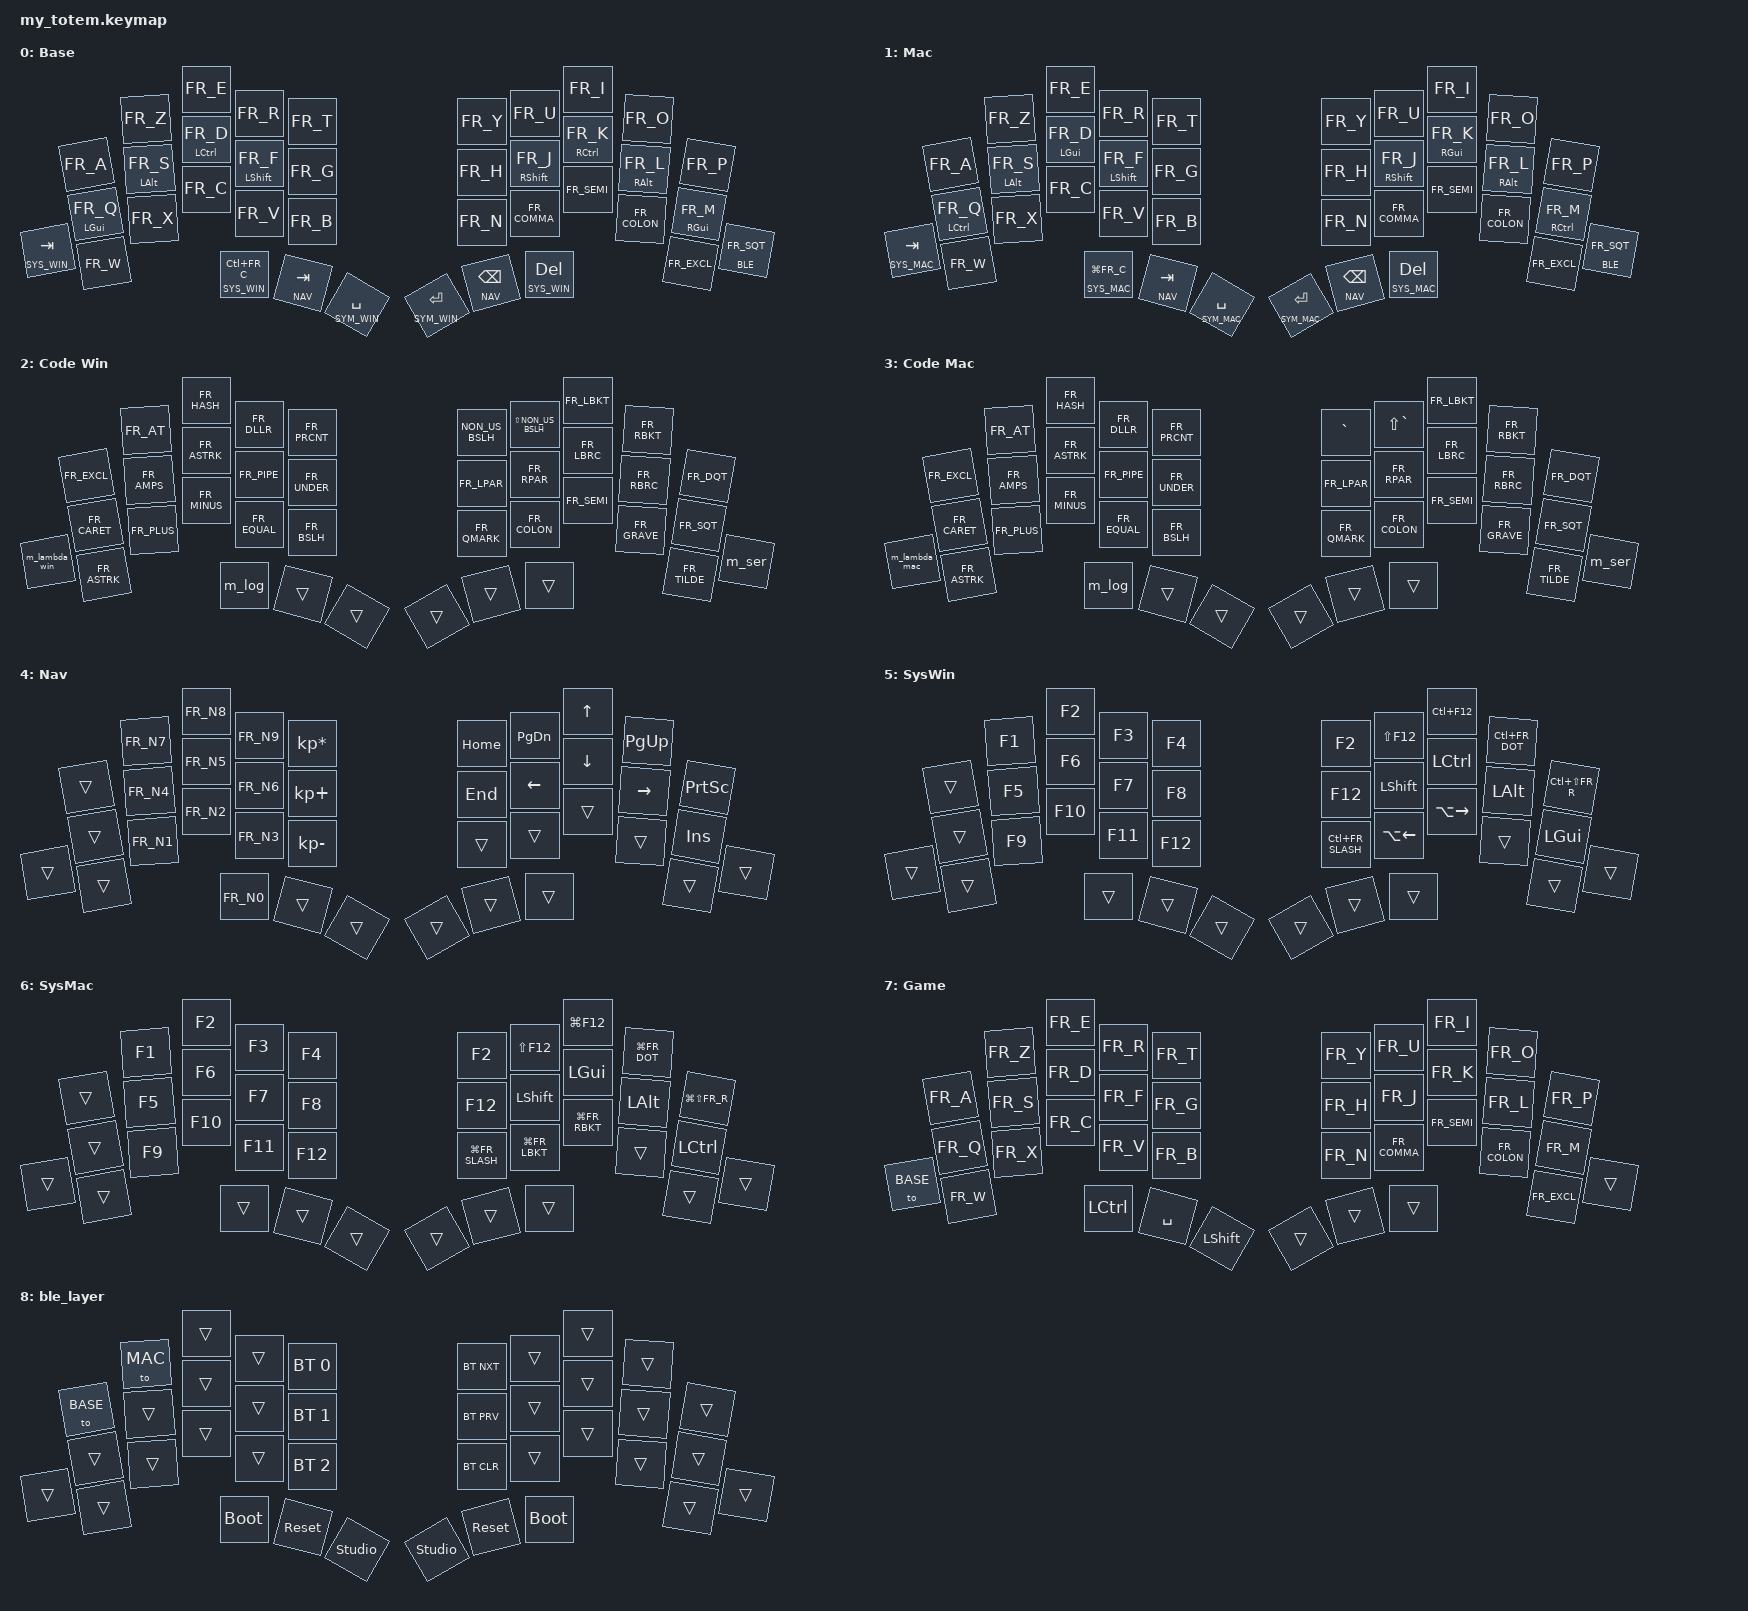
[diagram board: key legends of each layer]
/*
 * TOTEM ZMK CONFIGURATION - C# / UNITY / VS CODE EDITION
 *
 * COMBOS (Press simultaneously):
 * -------------------------------------------------------
 * A + Z         = ESCAPE
 * J + K         = ENTER
 * H + J         = BACKSPACE
 * W + !         = CAPS WORD (Smart capitalization for constants)
 * , + ;         = <  (For XML/Generics)
 * ; + :         = >  (For XML/Generics)
 * : + !         = Comment line (Ctrl + /)
 */

#include <behaviors.dtsi>
#include <dt-bindings/zmk/bt.h>
#include <dt-bindings/zmk/keys.h>

#ifndef KEYMAP_DRAWER
// Include the French locale definitions only for firmware build
#include "keys_fr.h"
#endif

// --- LAYER DEFINITIONS ---

#define BASE 0
#define MAC  1
#define SYM_WIN 2
#define SYM_MAC 3
#define NAV  4
#define SYS_WIN 5
#define SYS_MAC 6
#define GAME 7
#define BLE  8

// --- BEHAVIORS CONFIGURATION ---
// Mod-Tap: Short press = Key, Long press = Modifier

&mt {
    quick-tap-ms = <100>;
    global-quick-tap;
    flavor = "tap-preferred";
    tapping-term-ms = <170>;
};

// Caps Word: Automatically stops after a space or unauthorized symbol

&caps_word { continue-list = <UNDERSCORE MINUS BACKSPACE DELETE>; };

/ {
    behaviors {
        // HOME ROW MODS:
        // Holding the key activates the modifier (Shift, Ctrl, Alt, Gui)
        // F = Shift, D = Ctrl, S = Alt, Q = Win

        hm: homerow_mods {
            compatible = "zmk,behavior-hold-tap";
            label = "HOMEROW_MODS";
            #binding-cells = <2>;
            tapping-term-ms = <200>;
            quick_tap_ms = <0>;
            flavor = "tap-preferred";
            bindings = <&kp>, <&kp>;
            require-prior-idle-ms = <125>;
        };
    };

    macros {
        // C# Lambda (=>) - Windows
        m_lambda_win: m_lambda_win {
            compatible = "zmk,behavior-macro";
            #binding-cells = <0>;
            bindings = <&kp FR_EQUAL &kp FR_GT>;
        };
        // C# Lambda (=>) - Mac workaround for inverted characters
        m_lambda_mac: m_lambda_mac {
            compatible = "zmk,behavior-macro";
            #binding-cells = <0>;
            bindings = <&kp FR_EQUAL &kp LS(NON_US_BSLH)>; 
        };
        
        // Unity Serialized Field ([SerializeField] private ) - Unified
        m_ser: m_ser {
            compatible = "zmk,behavior-macro";
            #binding-cells = <0>;
            bindings = <&kp FR_LBKT &kp LS(FR_S) &kp FR_E &kp FR_R &kp FR_I &kp FR_A &kp FR_L &kp FR_I &kp FR_Z &kp FR_E &kp LS(FR_F) &kp FR_I &kp FR_E &kp FR_L &kp FR_D &kp FR_RBKT &kp SPACE &kp FR_P &kp FR_R &kp FR_I &kp FR_V &kp FR_A &kp FR_T &kp FR_E &kp SPACE>;
        };

        // Unity Debug Log (Debug.Log("");) + Cursor placement
        m_log: m_log {
            compatible = "zmk,behavior-macro";
            #binding-cells = <0>;
            bindings = <&kp LS(FR_D) &kp FR_E &kp FR_B &kp FR_U &kp FR_G &kp FR_DOT &kp LS(FR_L) &kp FR_O &kp FR_G &kp FR_LPAR &kp FR_DQT &kp FR_DQT &kp FR_RPAR &kp FR_SEMI &kp LEFT &kp LEFT &kp LEFT>;
        };
    };

    combos {
        compatible = "zmk,combos";

        // --- UTILITIES ---

        combo_esc {
            timeout-ms = <50>;
            key-positions = <0 1>;      // A + Z
            bindings = <&kp ESC>;
        };

        combo_enter {
            timeout-ms = <50>;
            key-positions = <16 17>;    // J + K
            bindings = <&kp RET>;
        };

        combo_bspc {
            timeout-ms = <50>;
            key-positions = <15 16>;   // H + J
            bindings = <&kp BSPC>;
        };

        combo_capsword {
            timeout-ms = <50>;
            key-positions = <20 29>;    // W + ! 
            bindings = <&caps_word>;
        };

        // --- C# GENERICS & XML (< >) FOR WINDOWS ---

        combo_lt_win {
            timeout-ms = <40>;
            key-positions = <27 28>;    // , + ;
            bindings = <&kp NON_US_BSLH>;
            layers = <BASE SYS_WIN>;
        };

        combo_gt_win {
            timeout-ms = <40>;
            key-positions = <28 29>;    // ; + :
            bindings = <&kp LS(NON_US_BSLH)>;
            layers = <BASE SYS_WIN>;
        };

        // --- C# GENERICS & XML (< >) FOR MAC ---

        combo_lt_mac {
            timeout-ms = <40>;
            key-positions = <27 28>;    // , + ;
            bindings = <&kp GRAVE>;     // Changed from NON_US_BSLH to bypass macOS ISO bug
            layers = <MAC SYS_MAC>;
        };

        combo_gt_mac {
            timeout-ms = <40>;
            key-positions = <28 29>;    // ; + :
            bindings = <&kp LS(GRAVE)>; // Changed from LS(NON_US_BSLH)
            layers = <MAC SYS_MAC>;
        };

        // --- VS CODE ---

        combo_comment {
            timeout-ms = <50>;
            key-positions = <29 30>;   // : + !
            bindings = <&kp LC(FR_SLASH)>;
            layers = <BASE SYS_WIN>;
        };

        combo_comment_mac {
            timeout-ms = <50>;
            key-positions = <29 30>;   // : + !
            bindings = <&kp LG(FR_SLASH)>;
            layers = <MAC SYS_MAC>;
        };
    };

    keymap {
        compatible = "zmk,keymap";

/* ------------------------------------------------------------------------------------------------
 * LAYER 0: BASE (AZERTY FR)
 *
 * A     Z     E     R     T     |     Y     U     I     O     P
 * Q     S     D     F     G     |     H     J     K     L     M
 * W     X     C     V     B     |     N     ,     ;     :     !
 *
 * CPY   PST   SPC(Nav)          |     RET(Sym)  BSP(Nav)  DEL
 *
 * Notes: 
 * - Home Row Mods on Q,S,D,F and J,K,L,M
 * - Holding Tab on the left = SYS Layer
 * ------------------------------------------------------------------------------------------------ */

        base_layer {
            display-name = "Base";
            bindings = <
&kp FR_A        &kp FR_Z        &kp FR_E        &kp FR_R        &kp FR_T                                           &kp FR_Y       &kp FR_U        &kp FR_I        &kp FR_O        &kp FR_P
&hm LGUI FR_Q   &hm LALT FR_S   &hm LCTRL FR_D  &hm LSHFT FR_F  &kp FR_G                                           &kp FR_H       &hm RSHFT FR_J  &hm RCTRL FR_K  &hm RALT FR_L   &hm RGUI FR_M
&lt SYS_WIN TAB &kp FR_W        &kp FR_X        &kp FR_C        &kp FR_V       &kp FR_B               &kp FR_N     &kp FR_COMMA   &kp FR_SEMI     &kp FR_COLON    &kp FR_EXCL     &lt BLE FR_SQT
                                                &lt SYS_WIN LC(FR_C) &lt NAV TAB &lt SYM_WIN SPACE        &lt SYM_WIN RET  &lt NAV BSPC   &lt SYS_WIN DEL
            >;
        };

        mac_layer {
            display-name = "Mac";
            bindings = <
&kp FR_A        &kp FR_Z        &kp FR_E        &kp FR_R        &kp FR_T                                           &kp FR_Y       &kp FR_U        &kp FR_I        &kp FR_O        &kp FR_P
&hm LCTRL FR_Q  &hm LALT FR_S   &hm LGUI FR_D   &hm LSHFT FR_F  &kp FR_G                                           &kp FR_H       &hm RSHFT FR_J  &hm RGUI FR_K   &hm RALT FR_L   &hm RCTRL FR_M
&lt SYS_MAC TAB &kp FR_W        &kp FR_X        &kp FR_C        &kp FR_V       &kp FR_B               &kp FR_N     &kp FR_COMMA   &kp FR_SEMI     &kp FR_COLON    &kp FR_EXCL     &lt BLE FR_SQT
                                                &lt SYS_MAC LG(FR_C) &lt NAV TAB &lt SYM_MAC SPACE        &lt SYM_MAC RET  &lt NAV BSPC   &lt SYS_MAC DEL
            >;
        };

/* ------------------------------------------------------------------------------------------------
 * LAYER 2: C# SYMBOLS & CODE
 *
 * !     @     #     $     %     |     <     >     [     ]     "
 * ^     &     * |     _     |     (     )     {     }     '
 * =>    * +     -     =     |     ?     :     ;     `     ~
 * ...   ...   ...           |     ...   ...   ...
 *
 * Notes: 
 * - Optimized for C#: ( ) { } [ ] accessible without moving the right wrist.
 * - Mac users must use "Français - PC" layout in macOS settings.
 * ------------------------------------------------------------------------------------------------ */

        sym_win_layer {
            display-name = "Code Win";
            bindings = <
&kp FR_EXCL     &kp FR_AT       &kp FR_HASH     &kp FR_DLLR     &kp FR_PRCNT                           &kp NON_US_BSLH &kp LS(NON_US_BSLH) &kp FR_LBKT  &kp FR_RBKT  &kp FR_DQT
&kp FR_CARET    &kp FR_AMPS     &kp FR_ASTRK    &kp FR_PIPE     &kp FR_UNDER                           &kp FR_LPAR  &kp FR_RPAR  &kp FR_LBRC  &kp FR_RBRC  &kp FR_SQT
&m_lambda_win   &kp FR_ASTRK    &kp FR_PLUS     &kp FR_MINUS    &kp FR_EQUAL  &kp FR_BSLH  &kp FR_QMARK &kp FR_COLON &kp FR_SEMI  &kp FR_GRAVE &kp FR_TILDE &m_ser
                                                &m_log          &trans        &trans       &trans       &trans       &trans
            >;
        };

        sym_mac_layer {
            display-name = "Code Mac";
            bindings = <
&kp FR_EXCL     &kp FR_AT       &kp FR_HASH     &kp FR_DLLR     &kp FR_PRCNT                           &kp GRAVE    &kp LS(GRAVE)  &kp FR_LBKT  &kp FR_RBKT  &kp FR_DQT
&kp FR_CARET    &kp FR_AMPS     &kp FR_ASTRK    &kp FR_PIPE     &kp FR_UNDER                           &kp FR_LPAR  &kp FR_RPAR  &kp FR_LBRC  &kp FR_RBRC  &kp FR_SQT
&m_lambda_mac   &kp FR_ASTRK    &kp FR_PLUS     &kp FR_MINUS    &kp FR_EQUAL  &kp FR_BSLH  &kp FR_QMARK &kp FR_COLON &kp FR_SEMI  &kp FR_GRAVE &kp FR_TILDE &m_ser
                                                &m_log          &trans        &trans       &trans       &trans       &trans
            >;
        };

/* ------------------------------------------------------------------------------------------------
 * LAYER 3: NAVIGATION & DEBUG
 *
 * F1    F2    F3    F4    F5    |     Home  PgDn  PgUp  End   PrtSc
 * F6    F7    F8    F9    F10   |     Left  Down  Up    Right Ins
 * F11   F12               |     Game              ...
 * ...   ...   ...           |     ...   ...   ...
 * ------------------------------------------------------------------------------------------------ */

        num_layer {
            display-name = "Nav";
            bindings = <
&trans  &kp FR_N7 &kp FR_N8 &kp FR_N9 &kp KP_MULTIPLY                                   &kp HOME  &kp PG_DN  &kp UP     &kp PG_UP  &kp PSCRN
&trans  &kp FR_N4 &kp FR_N5 &kp FR_N6 &kp KP_PLUS                                       &kp END   &kp LEFT   &kp DOWN   &kp RIGHT  &kp INS
&trans  &trans    &kp FR_N1 &kp FR_N2 &kp FR_N3       &kp KP_MINUS            &trans    &trans    &trans     &trans     &trans     &trans
                                      &kp FR_N0       &trans        &trans    &trans    &trans    &trans
            >;
        };

/* ------------------------------------------------------------------------------------------------
 * LAYER 4 & 5: SYSTEM & BLUETOOTH
 *
 * RST           OutTog BTClr      |                 F7    F8    F9    F12
 * Boot  BtNxt          BtSel1     |     Slck        F4    F5    F6    F11
 * BtPrv         BtSel2      |     Pause       F1    F2    F3    F10
 * ...   ...   ...           |     ...   ...   ...
 * ------------------------------------------------------------------------------------------------ */

        sys_win_layer {
            display-name = "SysWin";
            bindings = <
&trans  &kp F1  &kp F2  &kp F3   &kp F4                            &kp F2        &kp LS(F12)         &kp LC(F12)         &kp LC(FR_DOT) &kp LC(LS(FR_R))
&trans  &kp F5  &kp F6  &kp F7   &kp F8                            &kp F12       &kp LEFT_SHIFT      &kp LCTRL           &kp LALT       &kp LGUI
&trans  &trans  &kp F9  &kp F10  &kp F11  &kp F12     &kp LC(FR_SLASH) &kp LA(LEFT_ARROW)  &kp LA(RIGHT_ARROW) &trans         &trans         &trans
                                 &trans   &trans      &trans       &trans        &trans              &trans
            >;
        };

        sys_mac_layer {
            display-name = "SysMac";
            bindings = <
&trans  &kp F1  &kp F2  &kp F3   &kp F4                            &kp F2        &kp LS(F12)         &kp LG(F12)         &kp LG(FR_DOT) &kp LG(LS(FR_R))
&trans  &kp F5  &kp F6  &kp F7   &kp F8                            &kp F12       &kp LEFT_SHIFT      &kp LGUI            &kp LALT       &kp LCTRL
&trans  &trans  &kp F9  &kp F10  &kp F11  &kp F12     &kp LG(FR_SLASH) &kp LG(FR_LBKT)     &kp LG(FR_RBKT)     &trans         &trans         &trans
                                 &trans   &trans      &trans       &trans        &trans              &trans
            >;
        };

/* ------------------------------------------------------------------------------------------------
 * LAYER 6: GAME (UNITY / FPS)
 *
 * A     Z     E     R     T     |     Y     U     I     O     P
 * Q     S     D     F     G     |     H     J     K     L     M
 * W     X     C     V     B     |     N     ,     ;     :     !
 * Ctrl  Space Shift         |     ...   ...   ...
 * ------------------------------------------------------------------------------------------------ */

        game_layer {
            display-name = "Game";
            bindings = <
&kp FR_A  &kp FR_Z  &kp FR_E  &kp FR_R       &kp FR_T                                     &kp FR_Y  &kp FR_U  &kp FR_I      &kp FR_O      &kp FR_P
&kp FR_Q  &kp FR_S  &kp FR_D  &kp FR_F       &kp FR_G                                     &kp FR_H  &kp FR_J  &kp FR_K      &kp FR_L      &kp FR_M
&to BASE  &kp FR_W  &kp FR_X  &kp FR_C       &kp FR_V       &kp FR_B             &kp FR_N &kp FR_COMMA &kp FR_SEMI &kp FR_COLON  &kp FR_EXCL   &trans
                                             &kp LCTRL      &kp SPACE  &kp LSHFT &trans   &trans    &trans
            >;
        };

        ble_layer {
            bindings = <
&to BASE &to MAC &trans &trans       &bt BT_SEL 0                              &bt BT_NXT      &trans      &trans       &trans  &trans
&trans   &trans  &trans &trans       &bt BT_SEL 1                              &bt BT_PRV      &trans      &trans       &trans  &trans
&trans   &trans  &trans &trans       &trans        &bt BT_SEL 2    &bt BT_CLR  &trans          &trans      &trans       &trans  &trans
                                     &bootloader   &sys_reset      &studio_unlock &studio_unlock &sys_reset  &bootloader
            >;
        };
    };
};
